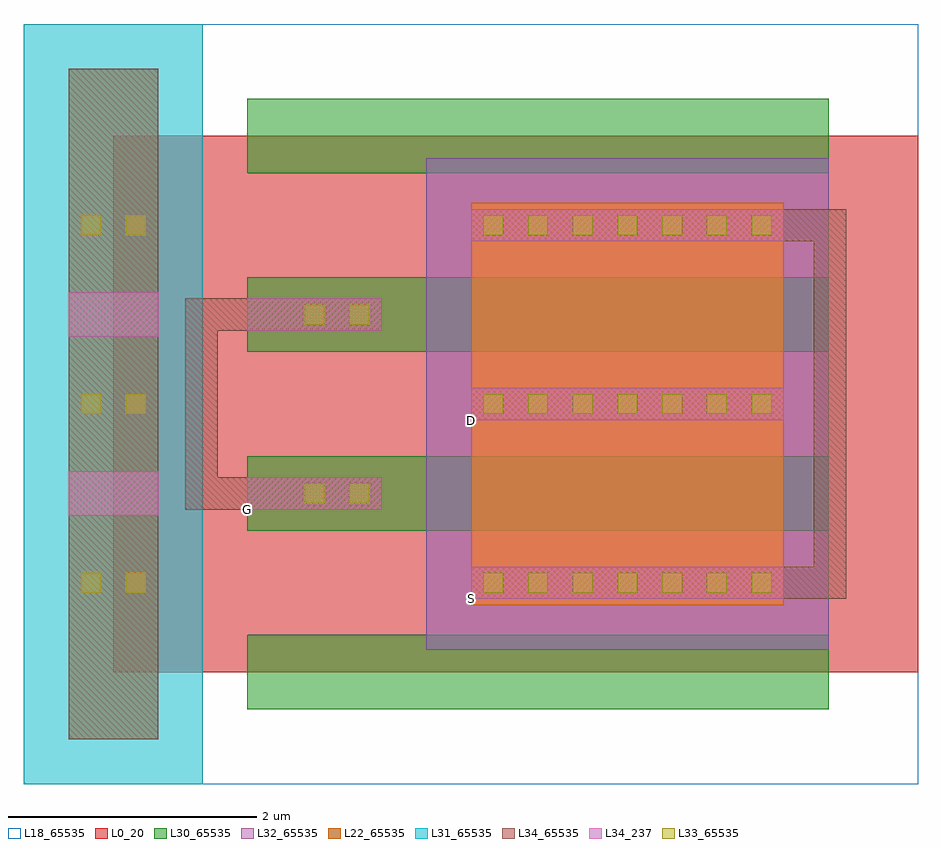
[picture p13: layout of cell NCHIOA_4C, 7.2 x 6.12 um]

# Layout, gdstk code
import gdstk
lib = gdstk.Library(unit=1e-6, precision=1e-09)
def R(c, l, rs):  # rectangles x0, y0, x1, y1
    for r in rs: c.add(gdstk.rectangle(r[:2], r[2:], *l))
def A(c, l, x, y, w, h, nx, ny, dx, dy):  # array of equal rectangles
    R(c, l, [(x+i*dx, y+j*dy, x+i*dx+w, y+j*dy+h) for i in range(nx) for j in range(ny)])
L0_20 = (0, 20)
L18_65535 = (18, 65535)
L22_65535 = (22, 65535)
L30_65535 = (30, 65535)
L31_65535 = (31, 65535)
L32_65535 = (32, 65535)
L33_65535 = (33, 65535)
L34_237 = (34, 237)
L34_65535 = (34, 65535)

nchio_4c = lib.new_cell('NCHIO_4C')
R(nchio_4c, L0_20, [(0,0,6.48,2.88)])
R(nchio_4c, L18_65535, [(-0.72,-0.9,6.48,3.78)])
A(nchio_4c, L22_65535, -0.36, -0.54, 0.72, 0.36, 1, 11, 0, 0.36)
A(nchio_4c, L22_65535, 2.88, 0.54, 2.52, 0.36, 1, 5, 0, 0.36)
A(nchio_4c, L30_65535, 1.08, -0.3, 4.68, 0.6, 1, 3, 0, 1.44)
R(nchio_4c, L31_65535, [(-0.72,-0.9,0.72,3.78)])
R(nchio_4c, L32_65535, [(2.52,0.18,5.76,2.7)])
A(nchio_4c, L33_65535, 2.98, 0.64, 0.16, 0.16, 7, 2, 0.36, 1.44)
R(nchio_4c, L33_65535, [(-0.26,0.64,-0.1,0.8), (0.1,0.64,0.26,0.8), (1.54,1.36,1.7,1.52), (1.9,1.36,2.06,1.52), (-0.26,2.08,-0.1,2.24), (0.1,2.08,0.26,2.24)])
R(nchio_4c, L34_237, [(2.88,0.59,5.4,0.85), (-0.36,1.26,0.36,1.62), (1.08,1.31,2.16,1.57), (2.88,2.03,5.4,2.29)])
A(nchio_4c, L34_65535, -0.36, -0.54, 0.72, 0.36, 1, 11, 0, 0.36)
R(nchio_4c, L34_65535, [(2.88,0.59,5.4,0.85), (1.08,1.31,2.16,1.57), (2.88,2.03,5.4,2.29)])
nchio_4c.add(gdstk.Label('G', (1.08,1.31), layer=34, texttype=237))
nchio_4c.add(gdstk.Label('S', (2.88,0.59), layer=34, texttype=237))
nchio_4c.add(gdstk.Label('B', (-0.36,1.26), layer=34, texttype=237))
nchio_4c.add(gdstk.Label('D', (2.88,2.03), layer=34, texttype=237))

nchioa_4c = lib.new_cell('NCHIOA_4C')
R(nchioa_4c, L0_20, [(0,0,6.48,4.32)])
R(nchioa_4c, L34_237, [(2.88,0.59,5.4,0.85), (1.08,1.31,2.16,1.57), (2.88,2.03,5.4,2.29)])
R(nchioa_4c, L34_65535, [(4.14,0.59,5.64,0.85), (5.64,0.59,5.9,3.73), (0.58,1.31,1.62,1.57), (0.58,1.31,0.84,3.01), (0.58,2.75,1.62,3.01), (4.14,3.47,5.64,3.73)])
nchioa_4c.add(gdstk.Reference(nchio_4c, (0,0)))
nchioa_4c.add(gdstk.Reference(nchio_4c, (0,1.44)))
nchioa_4c.add(gdstk.Label('S', (2.88,0.59), layer=58, texttype=65535))
nchioa_4c.add(gdstk.Label('G', (1.08,1.31), layer=58, texttype=65535))
nchioa_4c.add(gdstk.Label('D', (2.88,2.03), layer=34, texttype=237))
nchioa_4c.add(gdstk.Label('G', (1.08,1.31), layer=34, texttype=237))
nchioa_4c.add(gdstk.Label('S', (2.88,0.59), layer=34, texttype=237))

lib.write_gds('NCHIOA_4C.gds')
